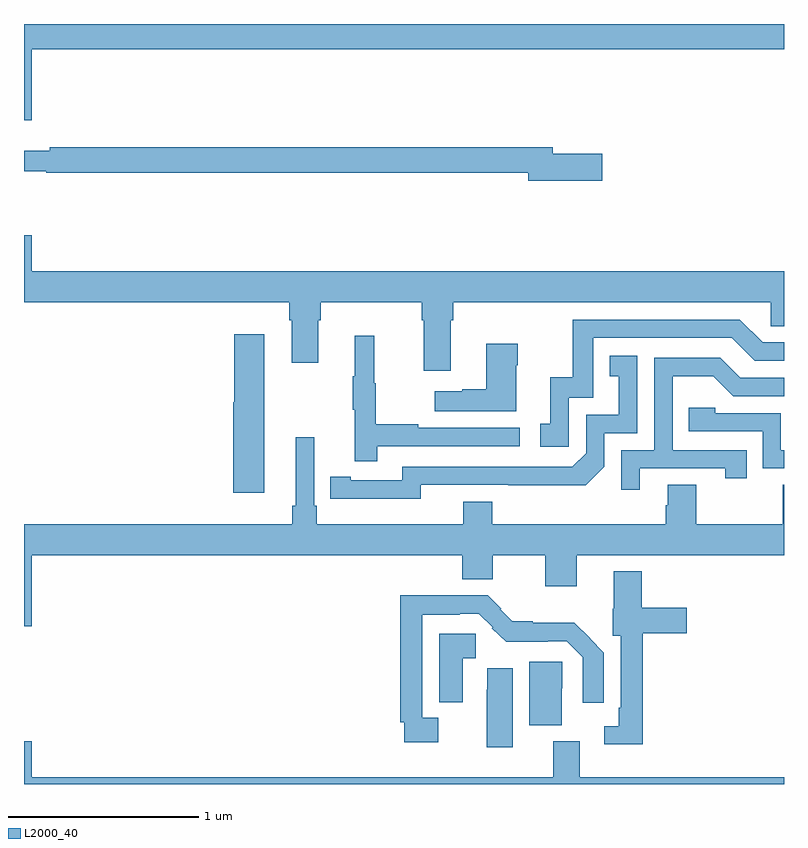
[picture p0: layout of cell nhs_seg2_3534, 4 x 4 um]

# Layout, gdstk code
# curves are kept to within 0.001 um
import gdstk
lib = gdstk.Library(unit=1e-6, precision=1e-09)
def P(c, l, *ps):  # polygons
    for p in ps: c.add(gdstk.Polygon(p, *l))
L2000_40 = (2000, 40)

nhs_seg2_3534 = lib.new_cell('nhs_seg2_3534')
P(nhs_seg2_3534, L2000_40, [(301,615.8),(297,615.8),(297,615.294),(297.04,615.294),(297.04,615.668),(301,615.668)],
  [(300.043,615.116),(299.782,615.116),(299.782,615.152),(297.136,615.152),(297.136,615.133),(297,615.133),(297,615.024),(297.116,615.024),(297.116,615.016),(299.654,615.016),(299.654,614.974),(300.043,614.974)],
  [(299.245,614.24),(299.258,614.24),(299.258,614.336),(300.93,614.336),(300.93,614.209),(301,614.209),(301,614.5),(297.04,614.5),(297.04,614.689),(297,614.689),(297,614.336),(298.397,614.336),(298.397,614.24),(298.409,614.24),(298.409,614.016),(298.549,614.016),(298.549,614.24),(298.562,614.24),(298.562,614.336),(299.093,614.336),(299.093,614.24),(299.105,614.24),(299.105,613.974),(299.245,613.974)],
  [(299.868,613.833),(299.997,613.833),(299.997,614.148),(300.726,614.148),(300.846,614.028),(301,614.028),(301,614.124),(300.888,614.124),(300.768,614.244),(299.889,614.244),(299.889,613.942),(299.771,613.942),(299.771,613.695),(299.718,613.695),(299.718,613.575),(299.868,613.575)],
  [(298.264,614.167),(298.106,614.167),(298.106,613.809),(298.1,613.809),(298.1,613.332),(298.264,613.332)],
  [(298.859,613.578),(299.608,613.578),(299.608,613.674),(299.075,613.674),(299.075,613.694),(298.852,613.694),(298.852,613.908),(298.844,613.908),(298.844,614.158),(298.742,614.158),(298.742,613.945),(298.731,613.945),(298.731,613.771),(298.742,613.771),(298.742,613.5),(298.859,613.5)],
  [(299.59,614.003),(299.598,614.003),(299.598,614.116),(299.432,614.116),(299.432,613.877),(299.306,613.877),(299.306,613.867),(299.163,613.867),(299.163,613.763),(299.59,613.763)],
  [(299.088,613.374),(299.956,613.373),(300.054,613.47),(300.054,613.647),(300.228,613.647),(300.228,614.053),(300.082,614.053),(300.082,613.947),(300.131,613.947),(300.131,613.743),(299.958,613.743),(299.958,613.542),(299.886,613.47),(298.992,613.47),(298.992,613.398),(298.72,613.398),(298.72,613.418),(298.612,613.418),(298.612,613.302),(299.088,613.301)],
  [(300.241,613.461),(300.692,613.461),(300.692,613.41),(300.803,613.41),(300.803,613.557),(300.414,613.557),(300.414,613.946),(300.628,613.946),(300.732,613.842),(301,613.842),(301,613.938),(300.769,613.938),(300.664,614.043),(300.318,614.043),(300.318,613.557),(300.144,613.557),(300.144,613.35),(300.241,613.35)],
  [(301,613.557),(300.984,613.557),(300.984,613.752),(300.639,613.752),(300.639,613.779),(300.499,613.779),(300.499,613.656),(300.888,613.656),(300.888,613.461),(301,613.461)],
  [(297.04,613.004),(299.306,613.004),(299.306,612.878),(299.467,612.878),(299.467,613.004),(299.744,613.004),(299.744,612.84),(299.908,612.84),(299.908,613.004),(301,613.004),(301,613.376),(300.994,613.376),(300.994,613.168),(300.537,613.168),(300.537,613.376),(300.389,613.376),(300.389,613.266),(300.377,613.266),(300.377,613.168),(299.465,613.168),(299.465,613.285),(299.312,613.285),(299.312,613.168),(298.541,613.168),(298.541,613.264),(298.527,613.264),(298.527,613.624),(298.43,613.624),(298.43,613.264),(298.411,613.264),(298.411,613.168),(297,613.168),(297,612.63),(297.04,612.63)],
  [(300.257,612.593),(300.487,612.593),(300.487,612.727),(300.251,612.727),(300.251,612.919),(300.104,612.919),(300.104,612.723),(300.099,612.723),(300.099,612.581),(300.141,612.581),(300.141,612.202),(300.129,612.202),(300.129,612.105),(300.054,612.105),(300.054,612.008),(300.257,612.008)],
  [(299.18,612.148),(299.097,612.148),(299.097,612.692),(299.294,612.692),(299.294,612.696),(299.394,612.696),(299.466,612.624),(299.463,612.621),(299.537,612.548),(299.756,612.548),(299.756,612.552),(299.856,612.552),(299.94,612.468),(299.94,612.228),(300.052,612.228),(300.052,612.492),(299.897,612.649),(299.677,612.649),(299.677,612.657),(299.569,612.657),(299.507,612.719),(299.511,612.723),(299.441,612.793),(298.981,612.793),(298.981,612.124),(299.001,612.124),(299.001,612.02),(299.18,612.02)],
  [(299.308,612.461),(299.377,612.461),(299.377,612.59),(299.186,612.59),(299.186,612.229),(299.308,612.229)],
  [(299.83,612.303),(299.832,612.303),(299.832,612.444),(299.66,612.444),(299.66,612.11),(299.83,612.11)],
  [(299.572,612.409),(299.438,612.409),(299.438,612.296),(299.435,612.296),(299.435,611.994),(299.572,611.994)],
  [(301,611.836),(299.926,611.836),(299.926,612.025),(299.786,612.025),(299.786,611.836),(297.04,611.836),(297.04,612.025),(297,612.025),(297,611.8),(301,611.8)])

lib.write_gds('nhs_seg2_3534.gds')
